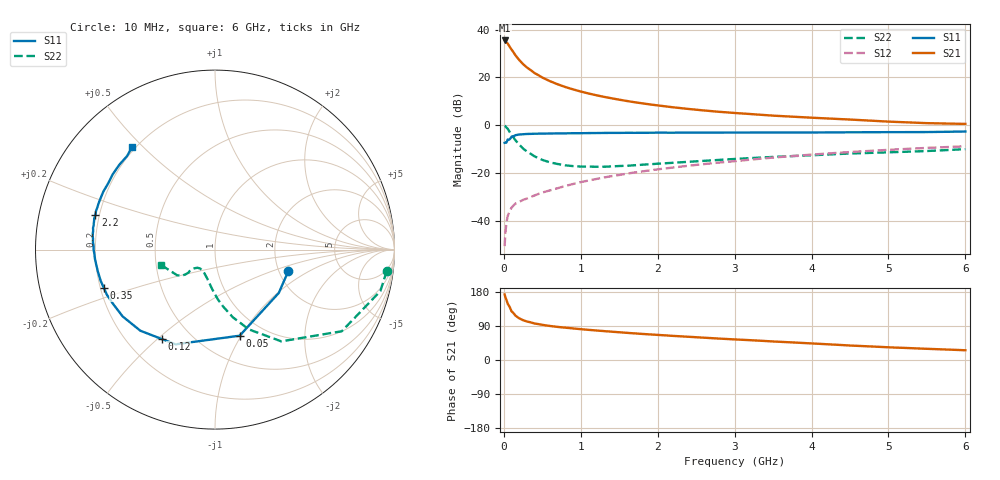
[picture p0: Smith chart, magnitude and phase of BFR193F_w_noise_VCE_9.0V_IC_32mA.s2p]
! (c) 2017  Infineon Technologies AG, Munich
! Infineon Technologies  Discrete & RF Semiconductors
! BFR193F
! VCE =  9.0 V,  IC =  32 mA
! Common Emitter S-Parameters:  Jan 2017
# GHz  S  MA  R  50
!  f  S11  S21  S12  S22
! GHz  MAG  ANG  MAG  ANG  MAG  ANG  MAG  ANG
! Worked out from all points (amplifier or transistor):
!   77 points, 10 MHz to 6 GHz, reference 50 ohm
!   highest |S21| = 35.5 dB at 10 MHz (marker M1)
!   |S21| within 3 dB of that: start of sweep to 83.28 MHz
!   unconditionally stable (mu >= 1): 1.138 GHz to 2.642 GHz
!   at 130 MHz: K = 0.36, MSG = 31.9 dB, |S12| = -33.6 dB
!   at 2.2 GHz: K = 1.02, MAG = 11.8 dB, |S12| = -17.8 dB
!   at 6 GHz: K = 0.85, MSG = 4.7 dB, |S12| = -8.9 dB
!   lowest NFmin = 1.21 dB at 450 MHz
!   S11 on the Smith chart (normalised r, x): 10 MHz: 2.24, -0.66; 50 MHz: 0.77, -0.98; 120 MHz: 0.34, -0.52; 350 MHz: 0.21, -0.16; 2.2 GHz: 0.18, +0.14; 6 GHz: 0.19, +0.46
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0.01  0.4255 -16.5  59.53 172.9  0.0029 89.4  0.9642 -7.1
0.02  0.4297 -34.2  57.83 165.9  0.0055 74.0  0.9499 -14.1
0.05  0.4989 -74.0  51.32 148.5  0.0124 66.0  0.84 -32.8
0.1  0.5718 -112.6  38.45 128.5  0.0186 53.4  0.6304 -54.2
0.12  0.5801 -120.9  34.61 124.7  0.0202 52.1  0.5682 -58.5
0.15  0.6142 -132.6  29.22 117.2  0.0226 50.6  0.4829 -67.0
0.2  0.6351 -144.1  23.16 110.0  0.0246 48.7  0.3903 -75.2
0.25  0.6438 -152.1  19.02 105.1  0.0271 49.8  0.3228 -81.6
0.3  0.6527 -157.3  16.13 101.6  0.0289 50.8  0.2799 -86.5
0.35  0.6551 -161.0  14.21 99.3  0.0312 52.7  0.2499 -89.9
0.4  0.6601 -164.6  12.31 96.3  0.0336 54.4  0.2209 -94.1
0.5  0.6638 -169.2  9.938 92.8  0.0386 58.2  0.1868 -100.1
0.6  0.6669 -172.7  8.335 89.8  0.0429 60.6  0.1655 -105.5
0.8  0.6721 -177.7  6.285 85.3  0.053 64.7  0.1435 -114.7
1.1  0.6809 176.6  4.61 79.6  0.0689 68.2  0.1353 -124.0
1.5  0.6869 171.2  3.413 73.2  0.0901 70.6  0.139 -132.6
2.1  0.694 164.7  2.475 65.0  0.1237 71.7  0.1588 -138.1
2.2  0.6934 163.8  2.362 63.6  0.1291 71.7  0.1623 -138.4
3.1  0.6986 156.1  1.753 53.3  0.1819 71.2  0.1992 -139.2
4.1  0.7016 147.2  1.405 42.7  0.247 68.0  0.2373 -142.5
5.1  0.7125 137.4  1.167 32.7  0.3091 62.9  0.2722 -153.3
6  0.7345 129.0  1.06 25.7  0.3598 57.8  0.3133 -164.3
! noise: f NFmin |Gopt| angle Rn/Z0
0.45  1.21  0.4  177  0.06
0.9  1.3  0.43  177  0.07
1.9  1.86  0.58  -167  0.07
2.4  2.15  0.61  -158  0.12
